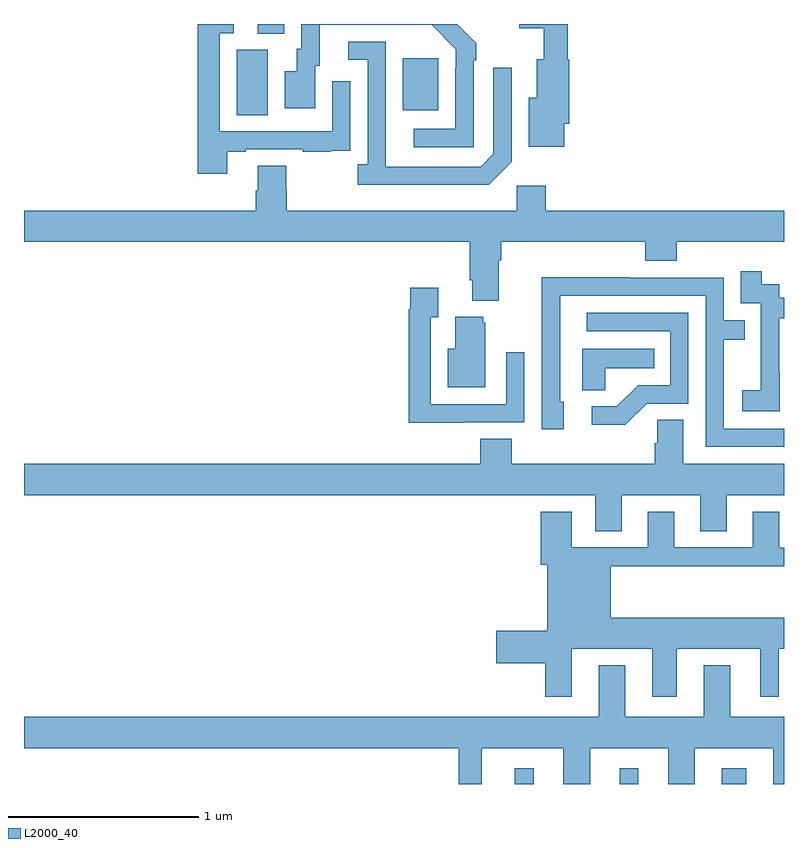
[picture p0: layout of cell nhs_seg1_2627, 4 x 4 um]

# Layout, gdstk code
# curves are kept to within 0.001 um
import gdstk
lib = gdstk.Library(unit=1e-6, precision=1e-09)
def R(c, l, rs):  # rectangles x0, y0, x1, y1
    for r in rs: c.add(gdstk.rectangle(r[:2], r[2:], *l))
def P(c, l, *ps):  # polygons
    for p in ps: c.add(gdstk.Polygon(p, *l))
L2000_40 = (2000, 40)

nhs_seg1_2627 = lib.new_cell('nhs_seg1_2627')
R(nhs_seg1_2627, L2000_40, [(255.584,562.199,255.682,562.282), (256.136,562.199,256.234,562.282), (256.673,562.199,256.801,562.282), (254.12,565.72,254.284,566.064), (254.993,565.745,255.181,566.02), (254.231,566.149,254.371,566.199)])
P(nhs_seg1_2627, L2000_40, [(255.366,566.009),(255.381,566.009),(255.381,566.097),(255.279,566.199),(254.46,566.199),(254.46,566.07),(254.435,566.07),(254.435,565.951),(254.372,565.951),(254.372,565.755),(254.533,565.755),(254.533,565.98),(254.557,565.98),(254.557,566.196),(255.145,566.196),(255.273,566.067),(255.273,565.967),(255.27,565.967),(255.27,565.647),(255.051,565.647),(255.051,565.551),(255.366,565.551)],
  [(255.844,565.674),(255.869,565.674),(255.869,566.01),(255.863,566.01),(255.863,566.199),(255.606,566.199),(255.606,566.177),(255.735,566.177),(255.735,566.014),(255.698,566.014),(255.698,565.81),(255.656,565.81),(255.656,565.553),(255.844,565.553)],
  [(254.071,565.527),(254.167,565.527),(254.167,565.539),(254.467,565.539),(254.467,565.527),(254.615,565.527),(254.615,565.533),(254.717,565.533),(254.717,565.642),(254.718,565.642),(254.718,565.897),(254.622,565.897),(254.622,565.635),(254.031,565.635),(254.031,566.151),(254.104,566.151),(254.104,566.199),(253.915,566.199),(253.915,565.41),(254.071,565.41)],
  [(255.567,565.473),(255.567,565.969),(255.471,565.969),(255.471,565.515),(255.405,565.449),(254.905,565.449),(254.904,566.106),(254.706,566.106),(254.706,566.01),(254.808,566.01),(254.808,565.462),(254.757,565.462),(254.757,565.352),(255.446,565.352)],
  [(255.499,564.956),(255.512,564.956),(255.512,565.052),(256.271,565.052),(256.271,564.953),(256.436,564.953),(256.436,565.052),(257,565.052),(257,565.216),(255.746,565.216),(255.746,565.348),(255.594,565.348),(255.594,565.216),(254.384,565.216),(254.384,565.329),(254.379,565.329),(254.379,565.454),(254.231,565.454),(254.231,565.322),(254.219,565.322),(254.219,565.216),(253,565.216),(253,565.052),(255.347,565.052),(255.347,564.85),(255.359,564.85),(255.359,564.743),(255.499,564.743)],
  [(256.977,564.367),(256.976,564.367),(256.976,564.651),(257,564.651),(257,564.759),(256.974,564.759),(256.974,564.828),(256.882,564.828),(256.882,564.898),(256.773,564.898),(256.773,564.729),(256.878,564.729),(256.878,564.5),(256.877,564.5),(256.877,564.271),(256.779,564.271),(256.779,564.161),(256.977,564.161)],
  [(257,564.069),(256.683,564.069),(256.683,564.538),(256.793,564.538),(256.793,564.639),(256.683,564.639),(256.683,564.864),(256.187,564.864),(256.187,564.866),(255.724,564.866),(255.724,564.559),(255.726,564.559),(255.726,564.066),(255.841,564.066),(255.841,564.21),(255.822,564.21),(255.822,564.768),(256.587,564.768),(256.587,563.973),(257,563.973)],
  [(255.317,564.102),(255.633,564.102),(255.633,564.472),(255.537,564.472),(255.537,564.198),(255.141,564.198),(255.141,564.655),(255.181,564.655),(255.181,564.811),(255.033,564.811),(255.033,564.698),(255.025,564.698),(255.025,564.101),(255.317,564.101)],
  [(256.278,564.201),(256.497,564.201),(256.497,564.678),(255.963,564.678),(255.963,564.582),(256.401,564.582),(256.401,564.297),(256.232,564.297),(256.121,564.186),(255.987,564.186),(255.987,564.089),(256.165,564.089)],
  [(255.427,564.627),(255.416,564.627),(255.416,564.658),(255.269,564.658),(255.269,564.49),(255.23,564.49),(255.23,564.287),(255.427,564.287)],
  [(256.059,564.386),(256.316,564.386),(256.316,564.49),(255.938,564.49),(255.938,564.271),(256.059,564.271)],
  [(256.147,563.72),(256.559,563.72),(256.559,563.53),(256.699,563.53),(256.699,563.72),(257,563.72),(257,563.884),(256.471,563.884),(256.471,564.116),(256.332,564.116),(256.332,563.993),(256.319,563.993),(256.319,563.884),(255.566,563.884),(255.566,564.017),(255.401,564.017),(255.401,563.884),(253,563.884),(253,563.72),(256.007,563.72),(256.007,563.53),(256.147,563.53)],
  [(255.883,562.91),(256.307,562.91),(256.307,562.659),(256.435,562.659),(256.435,562.91),(256.874,562.91),(256.874,562.659),(256.972,562.659),(256.972,562.91),(257,562.91),(257,563.074),(256.087,563.074),(256.087,563.344),(257,563.344),(257,563.442),(256.975,563.442),(256.975,563.632),(256.835,563.632),(256.835,563.445),(256.423,563.445),(256.423,563.632),(256.283,563.632),(256.283,563.445),(255.883,563.445),(255.883,563.632),(255.719,563.632),(255.719,563.352),(255.755,563.352),(255.755,563.006),(255.486,563.006),(255.486,562.835),(255.743,562.835),(255.743,562.659),(255.883,562.659)],
  [(255.409,562.388),(255.839,562.388),(255.839,562.199),(255.979,562.199),(255.979,562.388),(256.391,562.388),(256.391,562.199),(256.531,562.199),(256.531,562.388),(256.943,562.388),(256.943,562.199),(257,562.199),(257,562.552),(256.717,562.552),(256.717,562.825),(256.577,562.825),(256.577,562.552),(256.165,562.552),(256.165,562.825),(256.025,562.825),(256.025,562.552),(253,562.552),(253,562.388),(255.288,562.388),(255.288,562.199),(255.409,562.199)])

lib.write_gds('nhs_seg1_2627.gds')
